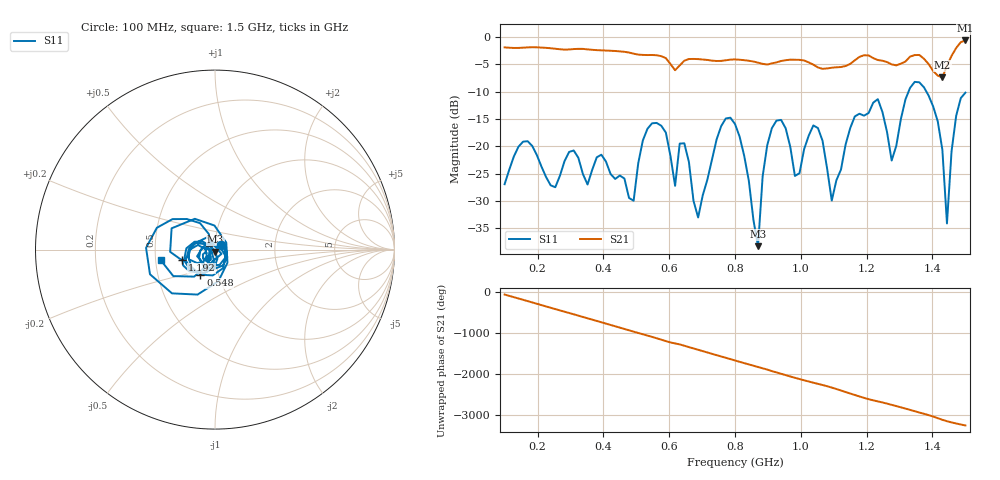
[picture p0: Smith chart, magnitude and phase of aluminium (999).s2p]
! NanoVNA-App
! Date: 2025-09-25 15:03:03
! Start: 100MHz Stop: 1,5GHz Points: 101
! S-Parameter data: F S11 S21 S12 S22
# Hz S RI R 50
!  Frequency  S11_Real  S11_Imag  S21_Real  S21_Imag  S12_Real  S12_Imag  S22_Real  S22_Imag
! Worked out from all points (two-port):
!   101 points, 100 MHz to 1.5 GHz, reference 50 ohm
!   highest |S21| = -0.66 dB at 1.5 GHz (marker M1); lowest = -7.4 dB at 1.43 GHz (marker M2)
!   |S21| within 3 dB of the highest: start of sweep to 580.9 MHz; 1.457 GHz to end of sweep (the widest 2 of 4)
!   lowest |S11| = -38.3 dB at 870 MHz (marker M3), VSWR 1.02, Z = 50.2 - j1.21 ohm
!   |S11| at or under -10 dB: start of sweep to 1.327 GHz; 1.381 GHz to end of sweep
!   S12 and S22 are empty: the file has one direction only
!   S11 on the Smith chart (normalised r, x): 100 MHz: 1.07, +0.06; 548 MHz: 0.82, -0.24; 1.192 GHz: 0.69, -0.08; 1.5 GHz: 0.53, -0.07
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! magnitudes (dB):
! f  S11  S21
! 100 MHz  -26.9  -1.9
! 156 MHz  -19.2  -2.0
! 338 MHz  -25.1  -2.2
! 492 MHz  -30.0  -3.1
! 548 MHz  -15.8  -3.3
! 576 MHz  -16.3  -3.5
! 618 MHz  -27.2  -6.1
! 646 MHz  -19.5  -4.4
! 688 MHz  -33.0  -4.1
! 800 MHz  -15.9  -4.1
! 870 MHz  -38.3  -4.7
! 912 MHz  -16.7  -4.8
! 982 MHz  -25.4  -4.2
! 1.038 GHz  -16.2  -5.1
! 1.094 GHz  -29.9  -5.6
! 1.192 GHz  -14.4  -3.4
! 1.276 GHz  -22.6  -5.0
! 1.346 GHz  -8.2  -3.3
! 1.43 GHz  -20.6  -7.4
! 1.444 GHz  -34.1  -5.3
! 1.472 GHz  -14.4  -2.0
! 1.5 GHz  -10.2  -0.7
